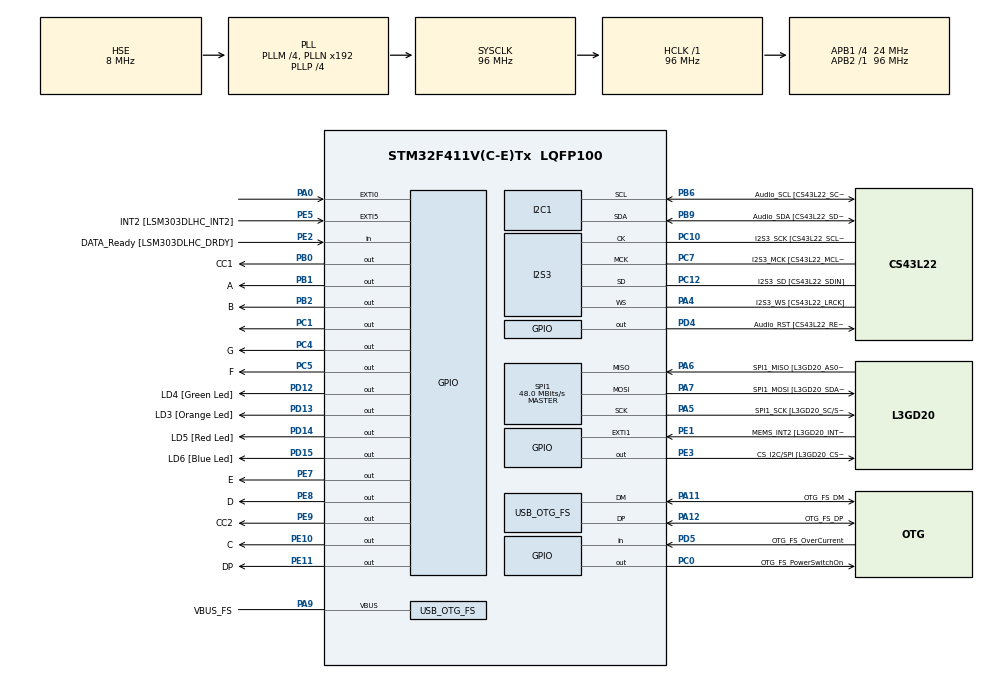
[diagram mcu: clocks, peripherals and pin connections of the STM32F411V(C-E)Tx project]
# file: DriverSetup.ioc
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Dma.Request0=SPI3_TX
Dma.SPI3_TX.0.Direction=DMA_MEMORY_TO_PERIPH
Dma.SPI3_TX.0.FIFOMode=DMA_FIFOMODE_ENABLE
Dma.SPI3_TX.0.FIFOThreshold=DMA_FIFO_THRESHOLD_FULL
Dma.SPI3_TX.0.Instance=DMA1_Stream5
Dma.SPI3_TX.0.MemBurst=DMA_MBURST_SINGLE
Dma.SPI3_TX.0.MemDataAlignment=DMA_MDATAALIGN_HALFWORD
Dma.SPI3_TX.0.MemInc=DMA_MINC_ENABLE
Dma.SPI3_TX.0.Mode=DMA_CIRCULAR
Dma.SPI3_TX.0.PeriphBurst=DMA_PBURST_SINGLE
Dma.SPI3_TX.0.PeriphDataAlignment=DMA_PDATAALIGN_HALFWORD
Dma.SPI3_TX.0.PeriphInc=DMA_PINC_DISABLE
Dma.SPI3_TX.0.Priority=DMA_PRIORITY_LOW
I2S3.AudioFreq=I2S_AUDIOFREQ_44K
I2S3.ErrorAudioFreq=-1.35 %
I2S3.FullDuplexMode=I2S_FULLDUPLEXMODE_DISABLE
I2S3.Instance=SPI$Index
I2S3.RealAudioFreq=43.402 KHz
I2S3.VirtualMode=I2S_MODE_MASTER
Mcu.Family=STM32F4
Mcu.Name=STM32F411V(C-E)Tx
Mcu.Package=LQFP100
NVIC.DMA1_Stream5_IRQn=true\:0\:0\:false\:false\:true\:false\:true\:true
NVIC.EXTI0_IRQn=true\:0\:0\:false\:false\:true\:true\:true\:true
NVIC.OTG_FS_IRQn=true\:0\:0\:false\:false\:true\:true\:true\:true
NVIC.PriorityGroup=NVIC_PRIORITYGROUP_0
NVIC.RCC_IRQn=true\:0\:0\:false\:false\:true\:true\:false\:true
PA0-WKUP.Signal=GPXTI0
PA10.GPIO_Label=OTG_FS_ID
PA10.Signal=USB_OTG_FS_ID
PA11.GPIO_Label=OTG_FS_DM
PA11.Mode=Host_Only
PA11.Signal=USB_OTG_FS_DM
PA12.GPIO_Label=OTG_FS_DP
PA12.Mode=Host_Only
PA12.Signal=USB_OTG_FS_DP
PA13.GPIO_Label=SWDIO
PA13.Mode=Serial_Wire
PA13.Signal=SYS_JTMS-SWDIO
PA14.GPIO_Label=SWCLK
PA14.Mode=Serial_Wire
PA14.Signal=SYS_JTCK-SWCLK
PA4.GPIO_Label=I2S3_WS [CS43L22_LRCK]
PA4.GPIO_Mode=GPIO_MODE_AF_PP
PA4.GPIO_PuPd=GPIO_NOPULL
PA4.GPIO_Speed=GPIO_SPEED_FREQ_LOW
PA4.Mode=Half_Duplex_Master
PA4.Signal=I2S3_WS
PA5.GPIO_Label=SPI1_SCK [L3GD20_SC/SPC]
PA5.Mode=Full_Duplex_Master
PA5.Signal=SPI1_SCK
PA6.GPIO_Label=SPI1_MISO [L3GD20_AS0/SDO]
PA6.Mode=Full_Duplex_Master
PA6.Signal=SPI1_MISO
PA7.GPIO_Label=SPI1_MOSI [L3GD20_SDA/SDI/SDO]
PA7.Mode=Full_Duplex_Master
PA7.Signal=SPI1_MOSI
PA9.GPIO_Label=VBUS_FS
PA9.Mode=Activate_VBUS
PA9.Signal=USB_OTG_FS_VBUS
PB0.GPIO_Label=CC1
PB0.Signal=GPIO_Output
PB1.GPIO_Label=A
PB1.Signal=GPIO_Output
PB10.GPIO_Label=CLK_IN [MP45DT02_CLK]
PB10.Signal=I2S2_CK
PB12.Signal=I2S2_WS
PB2.GPIO_Label=B
PB2.Signal=GPIO_Output
PB3.GPIO_Label=SWO
PB3.Signal=SYS_JTDO-SWO
PB6.GPIO_Label=Audio_SCL [CS43L22_SCL]
PB6.GPIO_Mode=GPIO_MODE_AF_OD
PB6.GPIO_Pu=GPIO_PULLUP
PB6.GPIO_PuPd=GPIO_NOPULL
PB6.GPIO_Speed=GPIO_SPEED_FREQ_LOW
PB6.Mode=I2C
PB6.Signal=I2C1_SCL
PB9.GPIO_Label=Audio_SDA [CS43L22_SDA]
PB9.GPIO_Mode=GPIO_MODE_AF_OD
PB9.GPIO_Pu=GPIO_PULLUP
PB9.GPIO_PuPd=GPIO_NOPULL
PB9.GPIO_Speed=GPIO_SPEED_FREQ_LOW
PB9.Mode=I2C
PB9.Signal=I2C1_SDA
PC0.GPIO_Label=OTG_FS_PowerSwitchOn
PC0.PinState=GPIO_PIN_RESET
PC0.Signal=GPIO_Output
PC1.PinState=GPIO_PIN_SET
PC1.Signal=GPIO_Output
PC10.GPIO_Label=I2S3_SCK [CS43L22_SCLK]
PC10.GPIO_Mode=GPIO_MODE_AF_PP
PC10.GPIO_PuPd=GPIO_NOPULL
PC10.GPIO_Speed=GPIO_SPEED_FREQ_LOW
PC10.Mode=Half_Duplex_Master
PC10.Signal=I2S3_CK
PC12.GPIO_Label=I2S3_SD [CS43L22_SDIN]
PC12.GPIO_Mode=GPIO_MODE_AF_PP
PC12.GPIO_PuPd=GPIO_NOPULL
PC12.GPIO_Speed=GPIO_SPEED_FREQ_LOW
PC12.Mode=Half_Duplex_Master
PC12.Signal=I2S3_SD
PC14-OSC32_IN.GPIO_Label=PC14-OSC32_IN
PC14-OSC32_IN.Signal=RCC_OSC32_IN
PC15-OSC32_OUT.GPIO_Label=PC15-OSC32_OUT
PC15-OSC32_OUT.Signal=RCC_OSC32_OUT
PC3.GPIO_Label=PDM_OUT [MP45DT02_DOUT]
PC3.Signal=I2S2_SD
PC4.GPIO_Label=G
PC4.Signal=GPIO_Output
PC5.GPIO_Label=F
PC5.Signal=GPIO_Output
PC7.GPIO_Label=I2S3_MCK [CS43L22_MCLK]
PC7.GPIO_Mode=GPIO_MODE_AF_PP
PC7.GPIO_PuPd=GPIO_NOPULL
PC7.GPIO_Speed=GPIO_SPEED_FREQ_LOW
PC7.Mode=Master_Clock_Activated
PC7.Signal=I2S3_MCK
PD12.GPIO_Label=LD4 [Green Led]
PD12.GPIO_PuPd=GPIO_NOPULL
PD12.GPIO_Speed=GPIO_SPEED_FREQ_LOW
PD12.Signal=GPIO_Output
PD13.GPIO_Label=LD3 [Orange Led]
PD13.GPIO_PuPd=GPIO_NOPULL
PD13.GPIO_Speed=GPIO_SPEED_FREQ_LOW
PD13.Signal=GPIO_Output
PD14.GPIO_Label=LD5 [Red Led]
PD14.GPIO_PuPd=GPIO_NOPULL
PD14.GPIO_Speed=GPIO_SPEED_FREQ_LOW
PD14.Signal=GPIO_Output
PD15.GPIO_Label=LD6 [Blue Led]
PD15.GPIO_PuPd=GPIO_NOPULL
PD15.GPIO_Speed=GPIO_SPEED_FREQ_LOW
PD15.Signal=GPIO_Output
PD4.GPIO_Label=Audio_RST [CS43L22_RESET]
PD4.Signal=GPIO_Output
PD5.GPIO_Label=OTG_FS_OverCurrent
PD5.Signal=GPIO_Input
PE1.GPIO_Label=MEMS_INT2 [L3GD20_INT2]
PE1.GPIO_ModeDefaultEXTI=GPIO_MODE_EVT_RISING
PE1.Signal=GPXTI1
PE10.GPIO_Label=C
PE10.Signal=GPIO_Output
PE11.GPIO_Label=DP
PE11.Signal=GPIO_Output
PE2.GPIO_Label=DATA_Ready [LSM303DLHC_DRDY]
PE2.Signal=GPIO_Input
PE3.GPIO_Label=CS_I2C/SPI [L3GD20_CS_I2C/SPI]
PE3.Signal=GPIO_Output
PE5.GPIO_Label=INT2 [LSM303DLHC_INT2]
PE5.GPIO_ModeDefaultEXTI=GPIO_MODE_EVT_RISING
PE5.Signal=GPXTI5
PE7.GPIO_Label=E
PE7.Signal=GPIO_Output
PE8.GPIO_Label=D
PE8.Signal=GPIO_Output
PE9.GPIO_Label=CC2
PE9.Signal=GPIO_Output
PH0\ -\ OSC_IN.GPIO_Label=PH0-OSC_IN
PH0\ -\ OSC_IN.Mode=HSE-External-Oscillator
PH0\ -\ OSC_IN.Signal=RCC_OSC_IN
PH1\ -\ OSC_OUT.GPIO_Label=PH1-OSC_OUT
PH1\ -\ OSC_OUT.Mode=HSE-External-Oscillator
PH1\ -\ OSC_OUT.Signal=RCC_OSC_OUT
ProjectManager.HeapSize=0x2000
ProjectManager.StackSize=0x2000
ProjectManager.TargetToolchain=STM32CubeIDE
RCC.48MHZClocksFreq_Value=48000000
RCC.AHBFreq_Value=96000000
RCC.APB1CLKDivider=RCC_HCLK_DIV4
RCC.APB1Freq_Value=24000000
RCC.APB1TimFreq_Value=48000000
RCC.APB2Freq_Value=96000000
RCC.APB2TimFreq_Value=96000000
RCC.CortexFreq_Value=96000000
RCC.HCLKFreq_Value=96000000
RCC.HSE_VALUE=8000000
RCC.HSI_VALUE=16000000
RCC.LSE_VALUE=32768
RCC.PLLI2SM=8
RCC.PLLI2SN=200
RCC.PLLM=4
RCC.PLLP=RCC_PLLP_DIV4
RCC.PLLQ=8
RCC.SYSCLKFreq_VALUE=96000000
RCC.SYSCLKSource=RCC_SYSCLKSOURCE_PLLCLK
RCC.VCOOutputFreq_Value=384000000
SPI1.BaudRatePrescaler=SPI_BAUDRATEPRESCALER_2
SPI1.CalculateBaudRate=48.0 MBits/s
SPI1.Direction=SPI_DIRECTION_2LINES
SPI1.Mode=SPI_MODE_MASTER
SPI1.VirtualType=VM_MASTER
USB_HOST.USBH_HandleTypeDef=hUsbHostFS
USB_HOST.VirtualModeFS=Msc
USB_OTG_FS.VirtualMode=Host_Only
USB_OTG_FS.phy_itface=HCD_PHY_EMBEDDED
VP_FATFS_VS_USB.Mode=USB
VP_USB_HOST_VS_USB_HOST_MSC_FS.Mode=MSC_FS
board=STM32F411E-DISCO

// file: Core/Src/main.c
/* USER CODE BEGIN Header */
/**
  ******************************************************************************
  * @file           : main.c
  * @brief          : Main program body
  ******************************************************************************
  * @attention
  *
  * Copyright (c) 2022 STMicroelectronics.
  * All rights reserved.
  *
  * This software is licensed under terms that can be found in the LICENSE file
  * in the root directory of this software component.
  * If no LICENSE file comes with this software, it is provided AS-IS.
  *
  ******************************************************************************
  */
/* USER CODE END Header */
#include "main.h"
#include "fatfs.h"
#include "usb_host.h"

/* USER CODE BEGIN Includes */
#include "audioI2S.h"
#include "MY_CS43L22.h"
#include "wav_player.h"
/* USER CODE END Includes */

/* USER CODE BEGIN PTD */
extern ApplicationTypeDef Appli_state;
int isUSBMounted = 0;
/* USER CODE END PTD */

I2C_HandleTypeDef hi2c1;

I2S_HandleTypeDef hi2s3;
DMA_HandleTypeDef hdma_spi3_tx;

SPI_HandleTypeDef hspi1;

void SystemClock_Config(void);
static void MX_GPIO_Init(void);
static void MX_DMA_Init(void);
static void MX_I2C1_Init(void);
static void MX_I2S3_Init(void);
static void MX_SPI1_Init(void);
void MX_USB_HOST_Process(void);

/* USER CODE BEGIN PFP */
void Sound_play(const char* FILENAME);
/* USER CODE END PFP */

int main(void)
{

  /* MCU Configuration--------------------------------------------------------*/

  /* Reset of all peripherals, Initializes the Flash interface and the Systick. */
  HAL_Init();

  /* Configure the system clock */
  SystemClock_Config();

  /* Initialize all configured peripherals */
  MX_GPIO_Init();
  MX_DMA_Init();
  MX_I2C1_Init();
  MX_I2S3_Init();
  MX_SPI1_Init();
  MX_USB_HOST_Init();
  MX_FATFS_Init();
  /* USER CODE BEGIN 2 */
  CS43_Init(hi2c1, MODE_I2S);
  CS43_SetVolume(255);
  CS43_Enable_RightLeft(CS43_RIGHT_LEFT);
  audioI2S_setHandle(&hi2s3);
  /* USER CODE END 2 */

  /* Infinite loop */
  /* USER CODE BEGIN WHILE */
  int16_t buffer[3] = {0, 0, 0};
	BSP_ACCELERO_Init();
	BSP_ACCELERO_GetXYZ(buffer);
	double start_acceleration=1;
	double bound=0.3;
	uint8_t count=0;
	const char* FILENAME_START="intro.wav";
	const char* FILENAME[10] = {"raz.wav", "dva.wav", "try.wav", "chotyry.wav", "piat.wav", "shist.wav", "sim.wav", "visim.wav", "deviat.wav", "desiat.wav"};
	Sound_play(FILENAME_START);
	uint8_t state=0;
	uint32_t exercise_time=30;
	HAL_GPIO_WritePin(CC1_GPIO_Port, CC1_Pin, GPIO_PIN_SET);
	  HAL_GPIO_WritePin(CC2_GPIO_Port, CC2_Pin, GPIO_PIN_SET);
	  HAL_GPIO_WritePin(DP_GPIO_Port, DP_Pin, GPIO_PIN_SET);
	uint32_t time=0;
	  while (1)
	  {

		  BSP_ACCELERO_GetXYZ(buffer);
		  double acceleration=(double)buffer[2]/16/1000.0-start_acceleration;
		 if (state==0){
			 if (acceleration < -bound){
				 if (time>exercise_time){
					 state=1;
				 }
				 time=0;
			 }
		 }
		 else{
			 if (acceleration > bound){
					 if (time>exercise_time){
						 state=0;
						 Sound_play(FILENAME[count]);
						 count+=1;
					 }
					 time=0;
			 }
		 }
		if (count>=10){
			count = 0;
		}
		time+=1;
		Set_Display_Number(count);
		HAL_Delay(10);

    /* USER CODE END WHILE */
    MX_USB_HOST_Process();

	  }
}

void SystemClock_Config(void)
{
  RCC_OscInitTypeDef RCC_OscInitStruct = {0};
  RCC_ClkInitTypeDef RCC_ClkInitStruct = {0};

  /** Configure the main internal regulator output voltage
  */
  __HAL_RCC_PWR_CLK_ENABLE();
  __HAL_PWR_VOLTAGESCALING_CONFIG(PWR_REGULATOR_VOLTAGE_SCALE1);

  /** Initializes the RCC Oscillators according to the specified parameters
  * in the RCC_OscInitTypeDef structure.
  */
  RCC_OscInitStruct.OscillatorType = RCC_OSCILLATORTYPE_HSE;
  RCC_OscInitStruct.HSEState = RCC_HSE_ON;
  RCC_OscInitStruct.PLL.PLLState = RCC_PLL_ON;
  RCC_OscInitStruct.PLL.PLLSource = RCC_PLLSOURCE_HSE;
  RCC_OscInitStruct.PLL.PLLM = 4;
  RCC_OscInitStruct.PLL.PLLN = 192;
  RCC_OscInitStruct.PLL.PLLP = RCC_PLLP_DIV4;
  RCC_OscInitStruct.PLL.PLLQ = 8;
  if (HAL_RCC_OscConfig(&RCC_OscInitStruct) != HAL_OK)
  {
    Error_Handler();
  }

  /** Initializes the CPU, AHB and APB buses clocks
  */
  RCC_ClkInitStruct.ClockType = RCC_CLOCKTYPE_HCLK|RCC_CLOCKTYPE_SYSCLK
                              |RCC_CLOCKTYPE_PCLK1|RCC_CLOCKTYPE_PCLK2;
  RCC_ClkInitStruct.SYSCLKSource = RCC_SYSCLKSOURCE_PLLCLK;
  RCC_ClkInitStruct.AHBCLKDivider = RCC_SYSCLK_DIV1;
  RCC_ClkInitStruct.APB1CLKDivider = RCC_HCLK_DIV4;
  RCC_ClkInitStruct.APB2CLKDivider = RCC_HCLK_DIV1;

  if (HAL_RCC_ClockConfig(&RCC_ClkInitStruct, FLASH_LATENCY_3) != HAL_OK)
  {
    Error_Handler();
  }
}

static void MX_I2C1_Init(void)
{

  hi2c1.Instance = I2C1;
  hi2c1.Init.ClockSpeed = 100000;
  hi2c1.Init.DutyCycle = I2C_DUTYCYCLE_2;
  hi2c1.Init.OwnAddress1 = 0;
  hi2c1.Init.AddressingMode = I2C_ADDRESSINGMODE_7BIT;
  hi2c1.Init.DualAddressMode = I2C_DUALADDRESS_DISABLE;
  hi2c1.Init.OwnAddress2 = 0;
  hi2c1.Init.GeneralCallMode = I2C_GENERALCALL_DISABLE;
  hi2c1.Init.NoStretchMode = I2C_NOSTRETCH_DISABLE;
  if (HAL_I2C_Init(&hi2c1) != HAL_OK)
  {
    Error_Handler();
  }

}

static void MX_I2S3_Init(void)
{

  hi2s3.Instance = SPI3;
  hi2s3.Init.Mode = I2S_MODE_MASTER_TX;
  hi2s3.Init.Standard = I2S_STANDARD_PHILIPS;
  hi2s3.Init.DataFormat = I2S_DATAFORMAT_16B;
  hi2s3.Init.MCLKOutput = I2S_MCLKOUTPUT_ENABLE;
  hi2s3.Init.AudioFreq = I2S_AUDIOFREQ_44K;
  hi2s3.Init.CPOL = I2S_CPOL_LOW;
  hi2s3.Init.ClockSource = I2S_CLOCK_PLL;
  hi2s3.Init.FullDuplexMode = I2S_FULLDUPLEXMODE_DISABLE;
  if (HAL_I2S_Init(&hi2s3) != HAL_OK)
  {
    Error_Handler();
  }

}

static void MX_SPI1_Init(void)
{

  /* SPI1 parameter configuration*/
  hspi1.Instance = SPI1;
  hspi1.Init.Mode = SPI_MODE_MASTER;
  hspi1.Init.Direction = SPI_DIRECTION_2LINES;
  hspi1.Init.DataSize = SPI_DATASIZE_8BIT;
  hspi1.Init.CLKPolarity = SPI_POLARITY_LOW;
  hspi1.Init.CLKPhase = SPI_PHASE_1EDGE;
  hspi1.Init.NSS = SPI_NSS_SOFT;
  hspi1.Init.BaudRatePrescaler = SPI_BAUDRATEPRESCALER_2;
  hspi1.Init.FirstBit = SPI_FIRSTBIT_MSB;
  hspi1.Init.TIMode = SPI_TIMODE_DISABLE;
  hspi1.Init.CRCCalculation = SPI_CRCCALCULATION_DISABLE;
  hspi1.Init.CRCPolynomial = 10;
  if (HAL_SPI_Init(&hspi1) != HAL_OK)
  {
    Error_Handler();
  }

}

static void MX_DMA_Init(void)
{

  /* DMA controller clock enable */
  __HAL_RCC_DMA1_CLK_ENABLE();

  /* DMA interrupt init */
  /* DMA1_Stream5_IRQn interrupt configuration */
  HAL_NVIC_SetPriority(DMA1_Stream5_IRQn, 0, 0);
  HAL_NVIC_EnableIRQ(DMA1_Stream5_IRQn);

}

static void MX_GPIO_Init(void)
{
  GPIO_InitTypeDef GPIO_InitStruct = {0};

  /* GPIO Ports Clock Enable */
  __HAL_RCC_GPIOE_CLK_ENABLE();
  __HAL_RCC_GPIOC_CLK_ENABLE();
  __HAL_RCC_GPIOH_CLK_ENABLE();
  __HAL_RCC_GPIOA_CLK_ENABLE();
  __HAL_RCC_GPIOB_CLK_ENABLE();
  __HAL_RCC_GPIOD_CLK_ENABLE();

  /*Configure GPIO pin Output Level */
  HAL_GPIO_WritePin(GPIOE, CS_I2C_SPI_Pin|E_Pin|D_Pin|CC2_Pin
                          |C_Pin|DP_Pin, GPIO_PIN_RESET);

  /*Configure GPIO pin Output Level */
  HAL_GPIO_WritePin(GPIOC, OTG_FS_PowerSwitchOn_Pin|G_Pin|F_Pin, GPIO_PIN_RESET);

  /*Configure GPIO pin Output Level */
  HAL_GPIO_WritePin(GPIOC, GPIO_PIN_1, GPIO_PIN_SET);

  /*Configure GPIO pin Output Level */
  HAL_GPIO_WritePin(GPIOB, CC1_Pin|A_Pin|B_Pin, GPIO_PIN_RESET);

  /*Configure GPIO pin Output Level */
  HAL_GPIO_WritePin(GPIOD, LD4_Pin|LD3_Pin|LD5_Pin|LD6_Pin
                          |Audio_RST_Pin, GPIO_PIN_RESET);

  /*Configure GPIO pin : DATA_Ready_Pin */
  GPIO_InitStruct.Pin = DATA_Ready_Pin;
  GPIO_InitStruct.Mode = GPIO_MODE_INPUT;
  GPIO_InitStruct.Pull = GPIO_NOPULL;
  HAL_GPIO_Init(DATA_Ready_GPIO_Port, &GPIO_InitStruct);

  /*Configure GPIO pins : CS_I2C_SPI_Pin E_Pin D_Pin CC2_Pin
                           C_Pin DP_Pin */
  GPIO_InitStruct.Pin = CS_I2C_SPI_Pin|E_Pin|D_Pin|CC2_Pin
                          |C_Pin|DP_Pin;
  GPIO_InitStruct.Mode = GPIO_MODE_OUTPUT_PP;
  GPIO_InitStruct.Pull = GPIO_NOPULL;
  GPIO_InitStruct.Speed = GPIO_SPEED_FREQ_LOW;
  HAL_GPIO_Init(GPIOE, &GPIO_InitStruct);

  /*Configure GPIO pins : INT2_Pin MEMS_INT2_Pin */
  GPIO_InitStruct.Pin = INT2_Pin|MEMS_INT2_Pin;
  GPIO_InitStruct.Mode = GPIO_MODE_EVT_RISING;
  GPIO_InitStruct.Pull = GPIO_NOPULL;
  HAL_GPIO_Init(GPIOE, &GPIO_InitStruct);

  /*Configure GPIO pins : OTG_FS_PowerSwitchOn_Pin PC1 G_Pin F_Pin */
  GPIO_InitStruct.Pin = OTG_FS_PowerSwitchOn_Pin|GPIO_PIN_1|G_Pin|F_Pin;
  GPIO_InitStruct.Mode = GPIO_MODE_OUTPUT_PP;
  GPIO_InitStruct.Pull = GPIO_NOPULL;
  GPIO_InitStruct.Speed = GPIO_SPEED_FREQ_LOW;
  HAL_GPIO_Init(GPIOC, &GPIO_InitStruct);

  /*Configure GPIO pin : PDM_OUT_Pin */
  GPIO_InitStruct.Pin = PDM_OUT_Pin;
  GPIO_InitStruct.Mode = GPIO_MODE_AF_PP;
  GPIO_InitStruct.Pull = GPIO_NOPULL;
  GPIO_InitStruct.Speed = GPIO_SPEED_FREQ_LOW;
  GPIO_InitStruct.Alternate = GPIO_AF5_SPI2;
  HAL_GPIO_Init(PDM_OUT_GPIO_Port, &GPIO_InitStruct);

  /*Configure GPIO pin : PA0 */
  GPIO_InitStruct.Pin = GPIO_PIN_0;
  GPIO_InitStruct.Mode = GPIO_MODE_IT_RISING;
  GPIO_InitStruct.Pull = GPIO_NOPULL;
  HAL_GPIO_Init(GPIOA, &GPIO_InitStruct);

  /*Configure GPIO pins : CC1_Pin A_Pin B_Pin */
  GPIO_InitStruct.Pin = CC1_Pin|A_Pin|B_Pin;
  GPIO_InitStruct.Mode = GPIO_MODE_OUTPUT_PP;
  GPIO_InitStruct.Pull = GPIO_NOPULL;
  GPIO_InitStruct.Speed = GPIO_SPEED_FREQ_LOW;
  HAL_GPIO_Init(GPIOB, &GPIO_InitStruct);

  /*Configure GPIO pins : CLK_IN_Pin PB12 */
  GPIO_InitStruct.Pin = CLK_IN_Pin|GPIO_PIN_12;
  GPIO_InitStruct.Mode = GPIO_MODE_AF_PP;
  GPIO_InitStruct.Pull = GPIO_NOPULL;
  GPIO_InitStruct.Speed = GPIO_SPEED_FREQ_LOW;
  GPIO_InitStruct.Alternate = GPIO_AF5_SPI2;
  HAL_GPIO_Init(GPIOB, &GPIO_InitStruct);

  /*Configure GPIO pins : LD4_Pin LD3_Pin LD5_Pin LD6_Pin
                           Audio_RST_Pin */
  GPIO_InitStruct.Pin = LD4_Pin|LD3_Pin|LD5_Pin|LD6_Pin
                          |Audio_RST_Pin;
  GPIO_InitStruct.Mode = GPIO_MODE_OUTPUT_PP;
  GPIO_InitStruct.Pull = GPIO_NOPULL;
  GPIO_InitStruct.Speed = GPIO_SPEED_FREQ_LOW;
  HAL_GPIO_Init(GPIOD, &GPIO_InitStruct);

  /*Configure GPIO pin : OTG_FS_OverCurrent_Pin */
  GPIO_InitStruct.Pin = OTG_FS_OverCurrent_Pin;
  GPIO_InitStruct.Mode = GPIO_MODE_INPUT;
  GPIO_InitStruct.Pull = GPIO_NOPULL;
  HAL_GPIO_Init(OTG_FS_OverCurrent_GPIO_Port, &GPIO_InitStruct);

  /* EXTI interrupt init*/
  HAL_NVIC_SetPriority(EXTI0_IRQn, 0, 0);
  HAL_NVIC_EnableIRQ(EXTI0_IRQn);

}

/* USER CODE BEGIN 4 */

void Set_Display_Number(uint8_t number) {
  uint8_t segmentNumber[10] = {
            0x3f, //0
            0x06, //1
        0x5b, //2
            0x4f, //3
            0x66, //4
        0x6d, //5
            0x7d, //6
            0x07, //7
            0x7f, //8
            0x67, //9
        };
    uint16_t ledpins[7] = {A_Pin, B_Pin, C_Pin, D_Pin, E_Pin, F_Pin, G_Pin};
    GPIO_TypeDef *ledpins_ports[7] = {A_GPIO_Port, B_GPIO_Port, C_GPIO_Port, D_GPIO_Port, E_GPIO_Port, F_GPIO_Port, G_GPIO_Port};
  for (int i = 0; i < 7; ++i) {
    HAL_GPIO_WritePin(ledpins_ports[i], ledpins[i], !((segmentNumber[number] >> i) & 1));
    }
}

void Sound_play(const char* FILENAME){
	if(!isUSBMounted)
		  {
			if (f_mount(&USBHFatFS, (const TCHAR*)USBHPath, 0) == FR_OK) {
				isUSBMounted = 1;
			}
		  }

	while (Appli_state != APPLICATION_READY) {
		MX_USB_HOST_Process();
	}
		HAL_GPIO_WritePin(GPIOD, GPIO_PIN_13, GPIO_PIN_SET);
		//HAL_Delay(500);
		wavPlayer_fileSelect(FILENAME);
		wavPlayer_play();

		while(!wavPlayer_isFinished())
		{
			HAL_GPIO_WritePin(GPIOD, GPIO_PIN_12, GPIO_PIN_SET);
		  wavPlayer_process();
		}
		wavPlayer_stop();
		HAL_GPIO_WritePin(GPIOD, GPIO_PIN_13, GPIO_PIN_RESET);
}

/* USER CODE END 4 */

void Error_Handler(void)
{
  __disable_irq();
  while (1)
  {
  }
}
